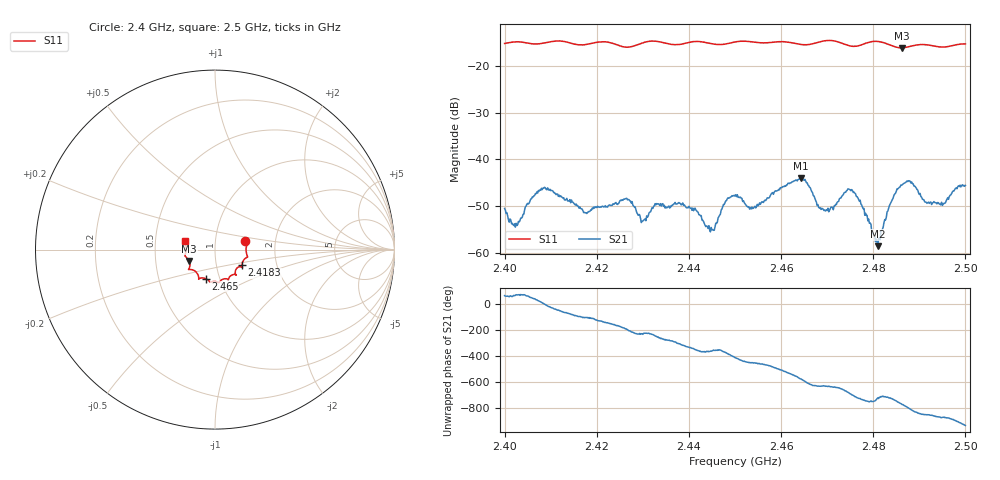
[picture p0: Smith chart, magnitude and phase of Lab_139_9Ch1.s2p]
# Hz S RI R 50
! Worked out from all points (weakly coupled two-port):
!   601 points, 2.4 GHz to 2.5 GHz, reference 50 ohm
!   highest |S21| = -44.08 dB at 2.4643 GHz (marker M1); lowest = -58.6 dB at 2.481 GHz (marker M2)
!   lowest |S11| = -16.1 dB at 2.4862 GHz (marker M3), VSWR 1.37, Z = 37.2 - j4.83 ohm
!   |S11| at or under -10 dB: start of sweep to end of sweep
!   S12 and S22 are empty: the file has one direction only
!   S11 on the Smith chart (normalised r, x): 2.4 GHz: 1.40, +0.14; 2.4183 GHz: 1.33, -0.24; 2.465 GHz: 0.86, -0.28; 2.5 GHz: 0.71, +0.07
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2.4e9  0.1687 0.047  0.00126 0.00271  0 0  0 0
2.402333e9  0.1783 0.036  0.00071 0.00174  0 0  0 0
2.408833e9  0.1764 -0.0249  0.00496 -0.000243  0 0  0 0
2.416667e9  0.1546 -0.068  -0.000472 -0.00292  0 0  0 0
2.418333e9  0.1502 -0.0867  -0.000611 -0.00269  0 0  0 0
2.4265e9  0.1215 -0.1038  -0.00374 0.000854  0 0  0 0
2.430167e9  0.1143 -0.1379  -0.00158 0.00157  0 0  0 0
2.433333e9  0.1174 -0.1409  -0.00101 0.0032  0 0  0 0
2.441333e9  0.0749 -0.168  0.00296 0.000575  0 0  0 0
2.445e9  0.0621 -0.1623  0.00176 2.34e-05  0 0  0 0
2.45e9  0.026 -0.1799  0.00257 -0.00314  0 0  0 0
2.453667e9  0.0163 -0.1815  -9.98e-06 -0.00309  0 0  0 0
2.464333e9  -0.0458 -0.1646  -0.00511 0.0036  0 0  0 0
2.465e9  -0.0525 -0.1614  -0.00382 0.00458  0 0  0 0
2.466667e9  -0.0711 -0.1577  -0.000723 0.00446  0 0  0 0
2.469833e9  -0.091 -0.1647  1.3e-05 0.00288  0 0  0 0
2.475667e9  -0.1068 -0.1232  0.00419 0.00141  0 0  0 0
2.481e9  -0.1475 -0.1101  0.00118 5.34e-06  0 0  0 0
2.483333e9  -0.1411 -0.0966  0.00298 3.85e-05  0 0  0 0
2.486167e9  -0.1439 -0.0633  0.0035 -0.00397  0 0  0 0
2.494833e9  -0.1604 0.00115  -0.00308 -0.00162  0 0  0 0
2.5e9  -0.1666 0.047  -0.00447 0.0028  0 0  0 0
